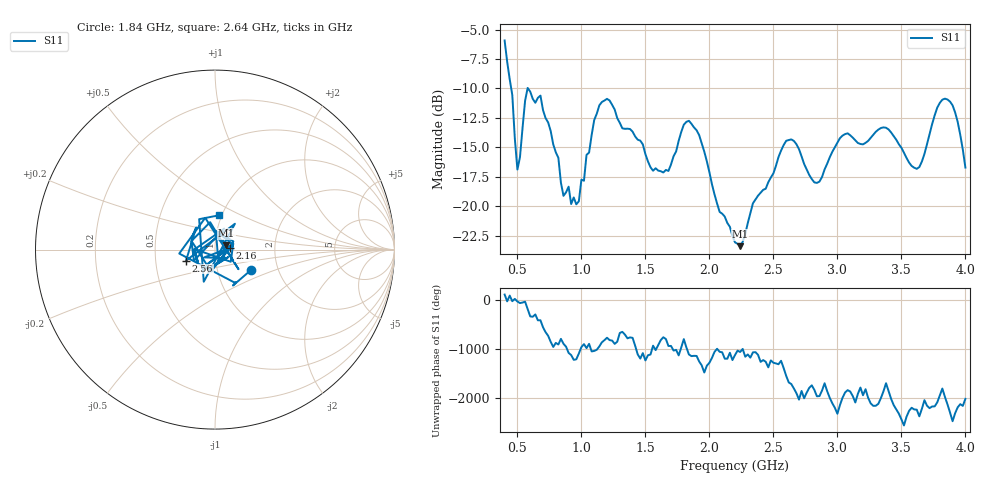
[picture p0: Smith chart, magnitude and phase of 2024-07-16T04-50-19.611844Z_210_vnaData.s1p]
!Created with skrf (http://scikit-rf.org).
# Hz S RI R 50.0
!freq ReS11 ImS11
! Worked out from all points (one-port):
!   181 points, 400 MHz to 4 GHz, reference 50 ohm
!   lowest |S11| = -23.4 dB at 2.24 GHz (marker M1), VSWR 1.15, Z = 56.7 + j2.79 ohm
!   |S11| at or under -10 dB: 451.7 MHz to 579.1 MHz (127.4 MHz wide, 24.7 % of centre); 583.1 MHz to end of sweep
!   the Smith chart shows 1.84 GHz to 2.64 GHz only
!   S11 on the Smith chart (normalised r, x): 1.84 GHz: 1.45, -0.35; 2.16 GHz: 1.18, +0.02; 2.56 GHz: 0.72, -0.09; 2.64 GHz: 0.97, +0.38
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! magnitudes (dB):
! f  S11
! 400 MHz  -5.9
! 460 MHz  -10.5
! 500 MHz  -16.9
! 580 MHz  -10.0
! 680 MHz  -10.6
! 820 MHz  -15.9
! 860 MHz  -19.1
! 980 MHz  -19.6
! 1.16 GHz  -11.1
! 1.3 GHz  -12.9
! 1.56 GHz  -17.0
! 1.68 GHz  -17.0
! 1.76 GHz  -14.4
! 1.84 GHz  -12.7
! 2.16 GHz  -21.7
! 2.2 GHz  -23.1
! 2.24 GHz  -23.4
! 2.56 GHz  -15.3
! 2.64 GHz  -14.3
! 2.66 GHz  -14.5
! 2.84 GHz  -18.0
! 3.1 GHz  -14.0
! 3.38 GHz  -13.3
! 3.56 GHz  -16.3
! 3.64 GHz  -16.7
! 3.84 GHz  -10.9
! 3.92 GHz  -12.0
! 4 GHz  -16.7
